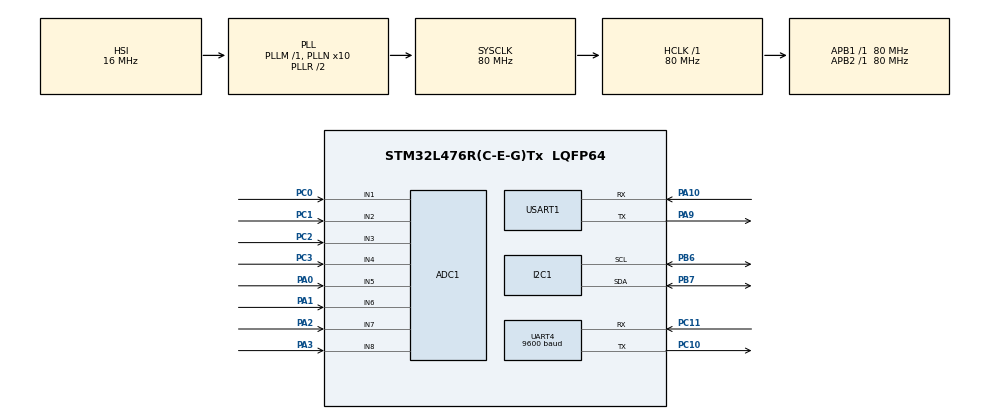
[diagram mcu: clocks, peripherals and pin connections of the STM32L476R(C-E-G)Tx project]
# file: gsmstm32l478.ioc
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ADC1.Channel-0\#ChannelRegularConversion=ADC_CHANNEL_1
ADC1.NbrOfConversionFlag=1
ADC1.OffsetNumber-0\#ChannelRegularConversion=ADC_OFFSET_NONE
ADC1.Rank-0\#ChannelRegularConversion=1
ADC1.SamplingTime-0\#ChannelRegularConversion=ADC_SAMPLETIME_2CYCLES_5
ADC1.master=1
I2C1.Timing=0x10D19CE4
Mcu.Family=STM32L4
Mcu.Name=STM32L476R(C-E-G)Tx
Mcu.Package=LQFP64
NVIC.PriorityGroup=NVIC_PRIORITYGROUP_4
NVIC.TIM2_IRQn=true\:0\:0\:false\:false\:true\:true\:true\:true
PA0.Signal=ADCx_IN5
PA1.Signal=ADCx_IN6
PA10.Mode=Asynchronous
PA10.Signal=USART1_RX
PA2.Signal=ADCx_IN7
PA3.Signal=ADCx_IN8
PA9.Mode=Asynchronous
PA9.Signal=USART1_TX
PB6.Mode=I2C
PB6.Signal=I2C1_SCL
PB7.Mode=I2C
PB7.Signal=I2C1_SDA
PC0.Signal=ADCx_IN1
PC1.Signal=ADCx_IN2
PC10.Mode=Asynchronous
PC10.Signal=UART4_TX
PC11.Mode=Asynchronous
PC11.Signal=UART4_RX
PC2.Signal=ADCx_IN3
PC3.Signal=ADCx_IN4
ProjectManager.HeapSize=0x200
ProjectManager.StackSize=0x400
ProjectManager.TargetToolchain=STM32CubeIDE
RCC.ADCFreq_Value=64000000
RCC.AHBFreq_Value=80000000
RCC.APB1Freq_Value=80000000
RCC.APB1TimFreq_Value=80000000
RCC.APB2Freq_Value=80000000
RCC.APB2TimFreq_Value=80000000
RCC.CortexFreq_Value=80000000
RCC.HCLKFreq_Value=80000000
RCC.HSE_VALUE=8000000
RCC.HSI_VALUE=16000000
RCC.LSE_VALUE=32768
RCC.MSI_VALUE=4000000
RCC.PLLN=10
RCC.PLLSourceVirtual=RCC_PLLSOURCE_HSI
RCC.PREFETCH_ENABLE=1
RCC.SYSCLKFreq_VALUE=80000000
RCC.SYSCLKSource=RCC_SYSCLKSOURCE_PLLCLK
RCC.USBFreq_Value=64000000
RCC.VCOOutputFreq_Value=160000000
SH.ADCx_IN1.0=ADC1_IN1,IN1-Single-Ended
SH.ADCx_IN2.0=ADC1_IN2,IN2-Single-Ended
SH.ADCx_IN3.0=ADC1_IN3,IN3-Single-Ended
SH.ADCx_IN4.0=ADC1_IN4,IN4-Single-Ended
SH.ADCx_IN5.0=ADC1_IN5,IN5-Single-Ended
SH.ADCx_IN6.0=ADC1_IN6,IN6-Single-Ended
SH.ADCx_IN7.0=ADC1_IN7,IN7-Single-Ended
SH.ADCx_IN8.0=ADC1_IN8,IN8-Single-Ended
UART4.BaudRate=9600
USART1.VirtualMode-Asynchronous=VM_ASYNC
VP_TIM2_VS_ClockSourceINT.Mode=Internal
board=NUCLEO-L476RG

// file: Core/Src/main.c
/* USER CODE BEGIN Header */
/**
 ******************************************************************************
 * @file           : main.c
 * @brief          : Main program body
 ******************************************************************************
 * @attention
 *
 * Copyright (c) 2025 STMicroelectronics.
 * All rights reserved.
 *
 * This software is licensed under terms that can be found in the LICENSE file
 * in the root directory of this software component.
 * If no LICENSE file comes with this software, it is provided AS-IS.
 *
 ******************************************************************************
 */
/* USER CODE END Header */
#include "main.h"
#include<stdio.h>
#include<string.h>
/* USER CODE BEGIN Includes */
typedef struct {
    char serverIP[20];
    uint16_t serverPort;
    uint16_t refreshTime;
    //char password[20];
} SystemConfig_t;
/* USER CODE END Includes */

ADC_HandleTypeDef hadc1;

I2C_HandleTypeDef hi2c1;

TIM_HandleTypeDef htim2;

UART_HandleTypeDef huart4;
UART_HandleTypeDef huart1;

/* USER CODE BEGIN PV */

int strength = -1;

uint16_t delay = 300;
uint16_t Delay = 30000;
char uart_buf[64];
uint16_t adc_values[8];
char imei[64];
char sms_msg[256];
char sms_buffer[512];
char gsm_time[32] = {0};
char json_string[1024];
uint8_t i;
int gsm_battery_voltage = -1;
int gsm_input_voltage = -1; // From external device

uint32_t channels[8] = {
    ADC_CHANNEL_0,
    ADC_CHANNEL_1,
    ADC_CHANNEL_2,
    ADC_CHANNEL_3,
    ADC_CHANNEL_4,
    ADC_CHANNEL_5,
    ADC_CHANNEL_6,
    ADC_CHANNEL_7
};
/* USER CODE END PV */

void SystemClock_Config(void);
static void MX_GPIO_Init(void);
static void MX_I2C1_Init(void);
static void MX_UART4_Init(void);
static void MX_ADC1_Init(void);
static void MX_USART1_UART_Init(void);
static void MX_TIM2_Init(void);
void GPRS_Send_JSON(void);

/* USER CODE BEGIN 0 */
SystemConfig_t systemConfig;
void GSM_Debug_Print(const char *data)
{
    HAL_UART_Transmit(&huart1, (uint8_t*)data, strlen(data), HAL_MAX_DELAY);
}

void GSM_SendCommand(const char *cmd, char *response, uint16_t resp_size)
{
    memset(response, 0, resp_size);
    HAL_UART_Transmit(&huart4, (uint8_t*)cmd, strlen(cmd), 100);
    HAL_UART_Receive(&huart4, (uint8_t*)response, resp_size, 100);

//    GSM_Debug_Print("CMD: ");
//    GSM_Debug_Print(cmd);
//    GSM_Debug_Print("RESP: ");
//    GSM_Debug_Print(response);
//    GSM_Debug_Print("\r\n");
}

// Initialize default configuration
void Config_Init(void)
{
    strcpy(systemConfig.serverIP, "69.62.83.251");
    systemConfig.serverPort = 4200;
    systemConfig.refreshTime = 5; // seconds
   // strcpy(systemConfig.password, "default123");
}

void Read_ADC(uint16_t *values, uint32_t *channels, uint8_t num_channels)
{
    ADC_ChannelConfTypeDef sConfig = {0};

    for (uint8_t i = 0; i < num_channels; i++)
    {
        sConfig.Channel = channels[i];
        sConfig.Rank = ADC_REGULAR_RANK_1;
        sConfig.SamplingTime = ADC_SAMPLETIME_2CYCLE_5;

        if (HAL_ADC_ConfigChannel(&hadc1, &sConfig) != HAL_OK)
        {
            Error_Handler();
        }

        if (HAL_ADC_Start(&hadc1) != HAL_OK)
        {
            Error_Handler();
        }

        if (HAL_ADC_PollForConversion(&hadc1, HAL_MAX_DELAY) != HAL_OK)
        {
            Error_Handler();
        }

        values[i] = HAL_ADC_GetValue(&hadc1);
        HAL_ADC_Stop(&hadc1);
    }
}

void gsm_get_time_from_module(void)
{
    char response[64] = {0};
    // Enable network time sync and save config
    GSM_SendCommand("AT+CLTS=1\r\n", response, sizeof(response));
    GSM_SendCommand("AT&W\r\n", response, sizeof(response));

    GSM_SendCommand("AT+CCLK?\r\n", response, sizeof(response));

    // Find the quote-delimited time string
    char *start = strchr(response, '\"');
    char *end = strrchr(response, '\"');
    if (start && end && (end > start)) {
        strncpy(gsm_time, start + 1, end - start - 1);
        gsm_time[end - start - 1] = '\0';
    }
}

void gsm_get_imei(void)
{
    char resp[128] = {0};
    GSM_SendCommand("AT+CGSN\r\n", resp, sizeof(resp));

    // Find the first digit sequence in the response
    char *p = resp;
    while (*p && !(*p >= '0' && *p <= '9')) {
        p++;
    }

    if (*p) {
        char *end = p;
        while (*end >= '0' && *end <= '9') {
            end++;
        }

        int imei_len = end - p;
        if (imei_len > 0 && imei_len < sizeof(imei)) {
            strncpy(imei, p, imei_len);
            imei[imei_len] = '\0';
        }
    }

}

int gsm_get_battery_voltage(void)
{
    char response[64] = {0};
    int battery_mv = -1;

    GSM_SendCommand("AT+CBC\r\n", response, sizeof(response));

    char *ptr = strstr(response, "+CBC:");
    if (ptr)
    {
        int bcs, bcl;
        if (sscanf(ptr, "+CBC: %d,%d,%d", &bcs, &bcl, &battery_mv) == 3)
        {
            return battery_mv;
        }
    }
    return battery_mv;
}

int signal_strength(void)
{
    char response[64] = {0};
    int rssi = -1, ber = -1;

    GSM_SendCommand("AT+CSQ\r\n", response, sizeof(response));

    char *ptr = strstr(response, "+CSQ:");
    if (ptr)
    {
        // Parse two integers: rssi and ber
        if (sscanf(ptr, "+CSQ: %d,%d", &rssi, &ber) == 2)
        {
            strength = rssi;
            return strength;
        }
    }
    return -1; // failed
}

void Create_JSON_String(void)
{
    // Read values
	gsm_get_imei();
    gsm_get_time_from_module();
    gsm_battery_voltage = gsm_get_battery_voltage();
    Read_ADC(adc_values, channels, 8);
    int sig_strength = signal_strength(); // get latest signal strength

    // Create JSON
    snprintf(json_string, sizeof(json_string),
        "{"
        "\"imei\":\"%s\","
        "\"timestamp\":\"%s\","
        "\"signal_strength\":%d,"
        "\"battery_voltage\":%d,"
        "\"input_voltage\":%d,"
        "\"adc_channels\":{"
            "\"A0\":%d,"
            "\"A1\":%d,"
            "\"A2\":%d,"
            "\"A3\":%d,"
            "\"A4\":%d,"
            "\"A5\":%d,"
            "\"A6\":%d,"
            "\"A7\":%d"
        "}"
        "}",
        imei, gsm_time,
        sig_strength,
        gsm_battery_voltage, gsm_input_voltage,
        adc_values[0], adc_values[1], adc_values[2], adc_values[3],
        adc_values[4], adc_values[5], adc_values[6], adc_values[7]
    );
}

void init(){

	 char resp[512] = {0};
// 2. Set bearer profile
GSM_SendCommand("AT+SAPBR=3,1,\"CONTYPE\",\"GPRS\"\r\n", resp, sizeof(resp));
HAL_Delay(5);

GSM_SendCommand("AT+SAPBR=3,1,\"APN\",\"internet\"\r\n", resp, sizeof(resp));
HAL_Delay(5);

GSM_SendCommand("AT+SAPBR=1,1\r\n", resp, sizeof(resp));
HAL_Delay(5);

GSM_SendCommand("AT+SAPBR=2,1\r\n", resp, sizeof(resp));
HAL_Delay(5);

// 3. HTTP Init
//    GSM_SendCommand("AT+HTTPTERM\r\n", resp, sizeof(resp)); // ensure clean state
//    HAL_Delay(delay0);

GSM_SendCommand("AT+HTTPINIT\r\n", resp, sizeof(resp));
HAL_Delay(5);

GSM_SendCommand("AT+HTTPPARA=\"CID\",1\r\n", resp, sizeof(resp));
HAL_Delay(5);

}

void GPRS_Send_JSON(void)
{
    char resp[512] = {0};

    // Create fresh JSON data
    Create_JSON_String();

//    GSM_Debug_Print("Sending JSON: ");
//    GSM_Debug_Print(json_string);
//    GSM_Debug_Print("\r\n");

    // 1. Basic init
    GSM_SendCommand("AT\r\n", resp, sizeof(resp));
    HAL_Delay(delay);

    GSM_SendCommand("ATE0\r\n", resp, sizeof(resp));
    HAL_Delay(delay);

    // Check GPRS attach status
    GSM_SendCommand("AT+CGATT?\r\n", resp, sizeof(resp));
    HAL_Delay(delay);

    // Close any previous connections
    GSM_SendCommand("AT+CIPSHUT\r\n", resp, sizeof(resp));
    HAL_Delay(delay);

    GSM_SendCommand("ATS7=5\r\n", resp, sizeof(resp)); // 10 second timeout instead of default 60
    HAL_Delay(50);

    // 2. Set bearer profile
    GSM_SendCommand("AT+SAPBR=3,1,\"CONTYPE\",\"GPRS\"\r\n", resp, sizeof(resp));
    HAL_Delay(5);

    GSM_SendCommand("AT+SAPBR=3,1,\"APN\",\"internet\"\r\n", resp, sizeof(resp));
    HAL_Delay(5);

    GSM_SendCommand("AT+SAPBR=1,1\r\n", resp, sizeof(resp));
    HAL_Delay(5);

    GSM_SendCommand("AT+SAPBR=2,1\r\n", resp, sizeof(resp));
    HAL_Delay(5);

    // 3. HTTP Init
//    GSM_SendCommand("AT+HTTPTERM\r\n", resp, sizeof(resp)); // ensure clean state
//    HAL_Delay(delay0);

    GSM_SendCommand("AT+HTTPINIT\r\n", resp, sizeof(resp));
    HAL_Delay(5);

    GSM_SendCommand("AT+HTTPPARA=\"CID\",1\r\n", resp, sizeof(resp));
    HAL_Delay(5);

    // 4. Set URL
    char http_url[256] = {0};
    snprintf(http_url, sizeof(http_url),
             "AT+HTTPPARA=\"URL\",\"http://69.62.83.251:4200/api/test\"\r\n");
    GSM_SendCommand(http_url, resp, sizeof(resp));
    HAL_Delay(delay);

    // 5. Set content type to JSON (or x-www-form-urlencoded)
    GSM_SendCommand("AT+HTTPPARA=\"CONTENT\",\"application/json\"\r\n", resp, sizeof(resp));
    HAL_Delay(delay);

//    // 6. Send data length
    char data_len_cmd[64];
    snprintf(data_len_cmd, sizeof(data_len_cmd), "AT+HTTPDATA=%d,1000\r\n", (int)strlen(json_string));
    GSM_SendCommand(data_len_cmd, resp, sizeof(resp));
    HAL_Delay(delay);

    // 7. Send actual JSON data
    HAL_UART_Transmit(&huart4, (uint8_t*)json_string, strlen(json_string), HAL_MAX_DELAY);
    HAL_Delay(delay);

    // 8. HTTP POST
    GSM_SendCommand("AT+HTTPACTION=1\r\n", resp, sizeof(resp));
    HAL_Delay(300);

//    // 9. Read server response
//    GSM_SendCommand("AT+HTTPREAD\r\n", resp, sizeof(resp));
//    HAL_Delay(delay);

    // 10. End HTTP
    GSM_SendCommand("AT+HTTPTERM\r\n", resp, sizeof(resp));
    HAL_Delay(10);

    // 11. Close bearer
//    GSM_SendCommand("AT+SAPBR=0,1\r\n", resp, sizeof(resp));
//    HAL_Delay(delay);
}

void Send_Test_SMS(void)
{
    char resp[256] = {0};

    GSM_SendCommand("AT\r\n", resp, sizeof(resp));
    HAL_Delay(500);

    GSM_SendCommand("ATE0\r\n", resp, sizeof(resp));
    HAL_Delay(500);

    GSM_SendCommand("AT+CMGF=1\r\n", resp, sizeof(resp));
    HAL_Delay(500);

    GSM_SendCommand("AT+CMGS=\"9727784005\"\r\n", resp, sizeof(resp));
    HAL_Delay(500);

    GSM_SendCommand("Hello from GSM module!\x1A", resp, sizeof(resp));
    HAL_Delay(5000);

    // Create and send JSON as SMS for testing
    Create_JSON_String();

    // Send JSON string + Ctrl+Z
    HAL_UART_Transmit(&huart4, (uint8_t*)json_string, strlen(json_string), HAL_MAX_DELAY);
    HAL_UART_Transmit(&huart4, (uint8_t*)"\x1A", 1, HAL_MAX_DELAY);
    HAL_Delay(5000);
}

/* USER CODE END 0 */

int main(void)
{

  /* MCU Configuration--------------------------------------------------------*/

  /* Reset of all peripherals, Initializes the Flash interface and the Systick. */
  HAL_Init();

  /* Configure the system clock */
  SystemClock_Config();

  /* Initialize all configured peripherals */
  MX_GPIO_Init();
  MX_I2C1_Init();
  MX_UART4_Init();
  MX_ADC1_Init();
  MX_USART1_UART_Init();
  MX_TIM2_Init();
 // Config_Init();
  //init();
  //Check_Incoming_SMS();
  /* USER CODE BEGIN 2 */

 // HAL_TIM_Base_Start_IT(&htim2);
  /* USER CODE END 2 */

  /* Infinite loop */
  /* USER CODE BEGIN WHILE */
	while (1)
	{

		GPRS_Send_JSON();
		HAL_Delay(Delay);
    /* USER CODE END WHILE */

	}
}

void SystemClock_Config(void)
{
  RCC_OscInitTypeDef RCC_OscInitStruct = {0};
  RCC_ClkInitTypeDef RCC_ClkInitStruct = {0};

  /** Configure the main internal regulator output voltage
  */
  if (HAL_PWREx_ControlVoltageScaling(PWR_REGULATOR_VOLTAGE_SCALE1) != HAL_OK)
  {
    Error_Handler();
  }

  /** Initializes the RCC Oscillators according to the specified parameters
  * in the RCC_OscInitTypeDef structure.
  */
  RCC_OscInitStruct.OscillatorType = RCC_OSCILLATORTYPE_HSI;
  RCC_OscInitStruct.HSIState = RCC_HSI_ON;
  RCC_OscInitStruct.HSICalibrationValue = RCC_HSICALIBRATION_DEFAULT;
  RCC_OscInitStruct.PLL.PLLState = RCC_PLL_ON;
  RCC_OscInitStruct.PLL.PLLSource = RCC_PLLSOURCE_HSI;
  RCC_OscInitStruct.PLL.PLLM = 1;
  RCC_OscInitStruct.PLL.PLLN = 10;
  RCC_OscInitStruct.PLL.PLLP = RCC_PLLP_DIV7;
  RCC_OscInitStruct.PLL.PLLQ = RCC_PLLQ_DIV2;
  RCC_OscInitStruct.PLL.PLLR = RCC_PLLR_DIV2;
  if (HAL_RCC_OscConfig(&RCC_OscInitStruct) != HAL_OK)
  {
    Error_Handler();
  }

  /** Initializes the CPU, AHB and APB buses clocks
  */
  RCC_ClkInitStruct.ClockType = RCC_CLOCKTYPE_HCLK|RCC_CLOCKTYPE_SYSCLK
                              |RCC_CLOCKTYPE_PCLK1|RCC_CLOCKTYPE_PCLK2;
  RCC_ClkInitStruct.SYSCLKSource = RCC_SYSCLKSOURCE_PLLCLK;
  RCC_ClkInitStruct.AHBCLKDivider = RCC_SYSCLK_DIV1;
  RCC_ClkInitStruct.APB1CLKDivider = RCC_HCLK_DIV1;
  RCC_ClkInitStruct.APB2CLKDivider = RCC_HCLK_DIV1;

  if (HAL_RCC_ClockConfig(&RCC_ClkInitStruct, FLASH_LATENCY_4) != HAL_OK)
  {
    Error_Handler();
  }
}

static void MX_ADC1_Init(void)
{

  ADC_MultiModeTypeDef multimode = {0};
  ADC_ChannelConfTypeDef sConfig = {0};

  /** Common config
  */
  hadc1.Instance = ADC1;
  hadc1.Init.ClockPrescaler = ADC_CLOCK_ASYNC_DIV1;
  hadc1.Init.Resolution = ADC_RESOLUTION_12B;
  hadc1.Init.DataAlign = ADC_DATAALIGN_RIGHT;
  hadc1.Init.ScanConvMode = ADC_SCAN_DISABLE;
  hadc1.Init.EOCSelection = ADC_EOC_SINGLE_CONV;
  hadc1.Init.LowPowerAutoWait = DISABLE;
  hadc1.Init.ContinuousConvMode = DISABLE;
  hadc1.Init.NbrOfConversion = 1;
  hadc1.Init.DiscontinuousConvMode = DISABLE;
  hadc1.Init.ExternalTrigConv = ADC_SOFTWARE_START;
  hadc1.Init.ExternalTrigConvEdge = ADC_EXTERNALTRIGCONVEDGE_NONE;
  hadc1.Init.DMAContinuousRequests = DISABLE;
  hadc1.Init.Overrun = ADC_OVR_DATA_PRESERVED;
  hadc1.Init.OversamplingMode = DISABLE;
  if (HAL_ADC_Init(&hadc1) != HAL_OK)
  {
    Error_Handler();
  }

  /** Configure the ADC multi-mode
  */
  multimode.Mode = ADC_MODE_INDEPENDENT;
  if (HAL_ADCEx_MultiModeConfigChannel(&hadc1, &multimode) != HAL_OK)
  {
    Error_Handler();
  }

  /** Configure Regular Channel
  */
  sConfig.Channel = ADC_CHANNEL_1;
  sConfig.Rank = ADC_REGULAR_RANK_1;
  sConfig.SamplingTime = ADC_SAMPLETIME_2CYCLES_5;
  sConfig.SingleDiff = ADC_SINGLE_ENDED;
  sConfig.OffsetNumber = ADC_OFFSET_NONE;
  sConfig.Offset = 0;
  if (HAL_ADC_ConfigChannel(&hadc1, &sConfig) != HAL_OK)
  {
    Error_Handler();
  }

}

static void MX_I2C1_Init(void)
{

  hi2c1.Instance = I2C1;
  hi2c1.Init.Timing = 0x10D19CE4;
  hi2c1.Init.OwnAddress1 = 0;
  hi2c1.Init.AddressingMode = I2C_ADDRESSINGMODE_7BIT;
  hi2c1.Init.DualAddressMode = I2C_DUALADDRESS_DISABLE;
  hi2c1.Init.OwnAddress2 = 0;
  hi2c1.Init.OwnAddress2Masks = I2C_OA2_NOMASK;
  hi2c1.Init.GeneralCallMode = I2C_GENERALCALL_DISABLE;
  hi2c1.Init.NoStretchMode = I2C_NOSTRETCH_DISABLE;
  if (HAL_I2C_Init(&hi2c1) != HAL_OK)
  {
    Error_Handler();
  }

  /** Configure Analogue filter
  */
  if (HAL_I2CEx_ConfigAnalogFilter(&hi2c1, I2C_ANALOGFILTER_ENABLE) != HAL_OK)
  {
    Error_Handler();
  }

  /** Configure Digital filter
  */
  if (HAL_I2CEx_ConfigDigitalFilter(&hi2c1, 0) != HAL_OK)
  {
    Error_Handler();
  }

}

static void MX_TIM2_Init(void)
{

  TIM_ClockConfigTypeDef sClockSourceConfig = {0};
  TIM_MasterConfigTypeDef sMasterConfig = {0};

  htim2.Instance = TIM2;
  htim2.Init.Prescaler = 79999;
  htim2.Init.CounterMode = TIM_COUNTERMODE_UP;
  htim2.Init.Period = 29999;
  htim2.Init.ClockDivision = TIM_CLOCKDIVISION_DIV1;
  htim2.Init.AutoReloadPreload = TIM_AUTORELOAD_PRELOAD_DISABLE;
  if (HAL_TIM_Base_Init(&htim2) != HAL_OK)
  {
    Error_Handler();
  }
  sClockSourceConfig.ClockSource = TIM_CLOCKSOURCE_INTERNAL;
  if (HAL_TIM_ConfigClockSource(&htim2, &sClockSourceConfig) != HAL_OK)
  {
    Error_Handler();
  }
  sMasterConfig.MasterOutputTrigger = TIM_TRGO_RESET;
  sMasterConfig.MasterSlaveMode = TIM_MASTERSLAVEMODE_DISABLE;
  if (HAL_TIMEx_MasterConfigSynchronization(&htim2, &sMasterConfig) != HAL_OK)
  {
    Error_Handler();
  }

}

static void MX_UART4_Init(void)
{

  huart4.Instance = UART4;
  huart4.Init.BaudRate = 9600;
  huart4.Init.WordLength = UART_WORDLENGTH_8B;
  huart4.Init.StopBits = UART_STOPBITS_1;
  huart4.Init.Parity = UART_PARITY_NONE;
  huart4.Init.Mode = UART_MODE_TX_RX;
  huart4.Init.HwFlowCtl = UART_HWCONTROL_NONE;
  huart4.Init.OverSampling = UART_OVERSAMPLING_16;
  huart4.Init.OneBitSampling = UART_ONE_BIT_SAMPLE_DISABLE;
  huart4.AdvancedInit.AdvFeatureInit = UART_ADVFEATURE_NO_INIT;
  if (HAL_UART_Init(&huart4) != HAL_OK)
  {
    Error_Handler();
  }

}

static void MX_USART1_UART_Init(void)
{

  huart1.Instance = USART1;
  huart1.Init.BaudRate = 9600;
  huart1.Init.WordLength = UART_WORDLENGTH_8B;
  huart1.Init.StopBits = UART_STOPBITS_1;
  huart1.Init.Parity = UART_PARITY_NONE;
  huart1.Init.Mode = UART_MODE_TX_RX;
  huart1.Init.HwFlowCtl = UART_HWCONTROL_NONE;
  huart1.Init.OverSampling = UART_OVERSAMPLING_16;
  huart1.Init.OneBitSampling = UART_ONE_BIT_SAMPLE_DISABLE;
  huart1.AdvancedInit.AdvFeatureInit = UART_ADVFEATURE_NO_INIT;
  if (HAL_UART_Init(&huart1) != HAL_OK)
  {
    Error_Handler();
  }

}

static void MX_GPIO_Init(void)
{

  /* GPIO Ports Clock Enable */
  __HAL_RCC_GPIOC_CLK_ENABLE();
  __HAL_RCC_GPIOA_CLK_ENABLE();
  __HAL_RCC_GPIOB_CLK_ENABLE();

}

void Error_Handler(void)
{
	__disable_irq();
	while (1) {
	}
}
